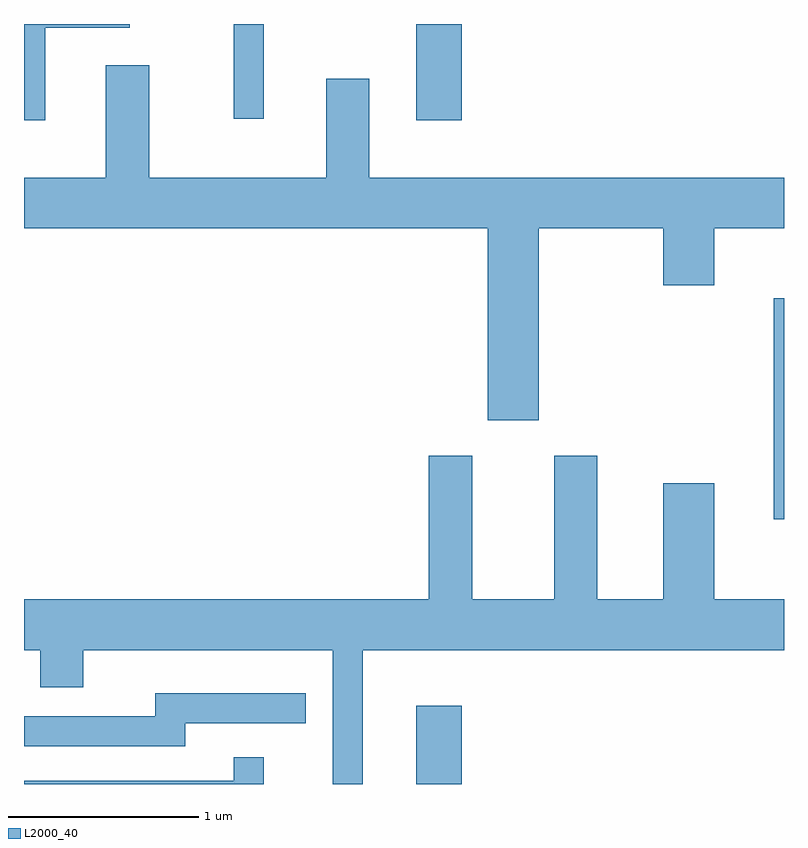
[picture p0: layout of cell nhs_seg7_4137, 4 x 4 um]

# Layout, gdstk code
import gdstk
lib = gdstk.Library(unit=1e-6, precision=1e-09)
def R(c, l, rs):  # rectangles x0, y0, x1, y1
    for r in rs: c.add(gdstk.rectangle(r[:2], r[2:], *l))
def P(c, l, *ps):  # polygons
    for p in ps: c.add(gdstk.Polygon(p, *l))
L2000_40 = (2000, 40)

nhs_seg7_4137 = lib.new_cell('nhs_seg7_4137')
R(nhs_seg7_4137, L2000_40, [(313.676,1740.252,313.914,1740.664), (315.556,1741.646,315.611,1742.809), (313.676,1743.746,313.914,1744.252), (312.716,1743.753,312.874,1744.252)])
P(nhs_seg7_4137, L2000_40, [(311.724,1744.231),(312.168,1744.231),(312.168,1744.252),(311.611,1744.252),(311.611,1743.746),(311.724,1743.746)],
  [(314.319,1743.176),(314.976,1743.176),(314.976,1742.876),(315.244,1742.876),(315.244,1743.176),(315.611,1743.176),(315.611,1743.444),(313.429,1743.444),(313.429,1743.964),(313.201,1743.964),(313.201,1743.444),(312.269,1743.444),(312.269,1744.034),(312.041,1744.034),(312.041,1743.444),(311.611,1743.444),(311.611,1743.176),(314.051,1743.176),(314.051,1742.166),(314.319,1742.166)],
  [(313.394,1740.956),(315.611,1740.956),(315.611,1741.224),(315.244,1741.224),(315.244,1741.834),(314.976,1741.834),(314.976,1741.224),(314.629,1741.224),(314.629,1741.979),(314.401,1741.979),(314.401,1741.224),(313.969,1741.224),(313.969,1741.979),(313.741,1741.979),(313.741,1741.224),(311.611,1741.224),(311.611,1740.956),(311.696,1740.956),(311.696,1740.761),(311.924,1740.761),(311.924,1740.956),(313.236,1740.956),(313.236,1740.252),(313.394,1740.252)],
  [(312.459,1740.571),(313.093,1740.571),(313.093,1740.729),(312.301,1740.729),(312.301,1740.609),(311.611,1740.609),(311.611,1740.451),(312.459,1740.451)],
  [(312.874,1740.393),(312.716,1740.393),(312.716,1740.269),(311.611,1740.269),(311.611,1740.252),(312.874,1740.252)])

lib.write_gds('nhs_seg7_4137.gds')
